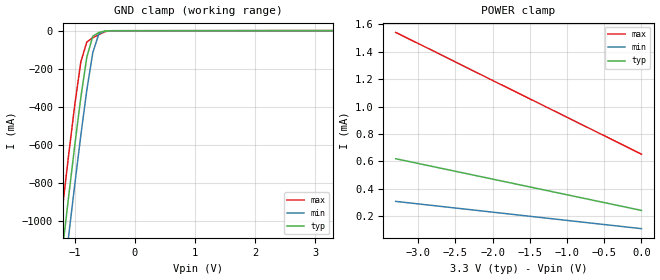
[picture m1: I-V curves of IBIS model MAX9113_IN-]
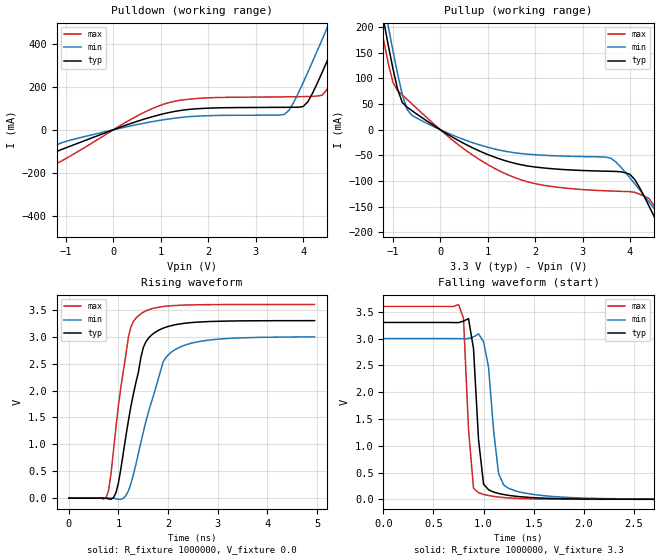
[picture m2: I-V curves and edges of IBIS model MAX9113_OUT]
|IBIS Model of MAX9113
|Created by Maxim Integrated Product
|8 lead TSSOP and SOIC package
[IBIS ver]   2.1
[File name]   max9113.ibs
[File Rev]   1.3
[Date]   Mar. 06, 2002
[Source]   From Maxim Spice models.
[Notes]   IBIS doesn't support differetial buffers directly,
   the I-V and timing curves are simulated by the
   approximated methods recommanded by members of
   IBIS committee.
[Disclaimer]   This file is for modeling purposes only.
[Copyright]   Copyright 2002 Maxim Integrated Products.
|   Component MAX9113
[Component]   MAX9113
[Manufacturer]   Maxim Integrated Products
[Package]
|variable   typ   min   max
R_pkg   50m   25m   75m
L_pkg   1.30nH   1.25nH   1.50nH
C_pkg   0.17pF   0.15pF   0.24pF
[Pin]  signal_name   model_name   r_pin   l_pin   c_pin
1   IN1-   MAX9113_IN-   35m   1.30nH   0.16pf
2   IN1+   MAX9113_IN+   35m   1.41nH   0.15pf
3   IN2+   MAX9113_IN+   35m   1.25nH   0.16pf
4   IN2-   MAX9113_IN-   35m   1.30nH   0.16pf
5   GND   GND   36m   1.50nH   0.24pf
6   OUT2   MAX9113_OUT   35m   1.27nH   0.15pf
7   OUT1   MAX9113_OUT   35m   1.25nH   0.15pf
8   VCC   POWER   39m   1.31nH   0.16pf
[Diff_pin] inv_pin  vdiff  tdelay_typ
2   1   100mV   NA |Receiver Vth=+/-100mv
3   4   100mV   NA
| Models and submodels in the file (3): MAX9113_IN- (Input), MAX9113_IN+ (Input), MAX9113_OUT (Output)
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|   Model MAX9113_IN-
[Model]   MAX9113_IN-
Model_type   Input
|Signals   IN1-, IN2-
Vinl = 0.05V
Vinh = 2.40V
|   typ   min   max
C_comp   3pF   2.4pF   3.6pF
|C_comp include package, ESD and input circuit capacitance
[Temperature Range]   25.00   85.00   -40
[Voltage Range]   3.30V   3.00V   3.60V
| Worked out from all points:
|   GND clamp passes 1 mA (typ) near -0.44 V on its own axis
[POWER Clamp]
|Volts   I(typ)   I(min)   I(max)
-3.3V     619.9uA    308.8uA    1.541mA
-3V       585.7uA    290.7uA    1.461mA
-1.9V     460uA      224.5uA    1.164mA
0V        242.9uA    110uA      653.1uA
[GND Clamp]
|Volts   I(typ)   I(min)   I(max)
-3.3V     -7.13A     -7.306A    -6.963A
-1.3V     -1.412A    -1.618A    -1.195A
-1.2V     -1.137A    -1.344A    -918.5mA
-1.1V     -865.7mA   -1.073A    -647.6mA
-1V       -602.1mA   -807.9mA   -389mA
-900mV    -352.6mA   -551.5mA   -165.2mA
-800mV    -139.1mA   -312.5mA   -59.25mA
-700mV    -28.8mA    -114.8mA   -37.35mA
-600mV    -9.97mA    -16.97mA   -20.6mA
-500mV    -2.147mA   -1.603mA   -5.135mA
-400mV    -337.7uA   -212uA     -705.2uA
3.3V      242.9uA    128.1uA    572.3uA
|   Model MAX9113_OUT
[Model]   MAX9113_OUT
Model_type   Output
Polarity   Non-Inverting
|Signal   OUT1, OUT2
|   typ   min   max
C_comp   4pF   3.2pF   4.8pF
[Temperature Range]   25.00   85.00   -40
[Voltage Range]   3.30V   3.00V   3.60V
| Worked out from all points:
|   slope of the pulldown table from 0 to 0.495 V, typ, clamps not added: 12.8 ohm
|   slope of the pullup table from 0 to 0.495 V, typ, clamps not added: 18.6 ohm
|   rising waveform, R_fixture 1000000, V_fixture 0.0: 20-80 % time 390ps typ, 514ps min, 302ps max; typ from 0 V to 3.3 V
|   falling waveform, R_fixture 1000000, V_fixture 3.3: 20-80 % time 72.4ps typ, 90ps min, 64.6ps max; typ from 3.3 V to 0 V
[PULLDOWN]
|Volts   I(typ)   I(min)   I(max)
-3.3V     -499.5mA   -316.3mA   -817.2mA
-2.3V     -301.7mA   -195.6mA   -480.4mA
-1.3V     -114.7mA   -79.8mA    -170.2mA
800mV     59.35mA    36.91mA    96.58mA
1.7V      96.65mA    62.46mA    144.3mA
3.6V      104.3mA    71.01mA    153mA
4V        107.9mA    219mA      154.3mA
4.2V      170.9mA    318.1mA    155.5mA
4.5V      317.1mA    471.6mA    186.4mA
4.8V      472.9mA    628.1mA    332.8mA
5.1V      632.7mA    786.7mA    495.2mA
6.6V      1.474A     1.606A     1.38A
[PULLUP]
|Volts   I(typ)   I(min)   I(max)
-3.3V     1.316A     1.348A     1.282A
-1.3V     264.6mA    302mA      225.6mA
-1.1V     165.8mA    202.4mA    130mA
-900mV    78.61mA    108.7mA    76.15mA
-600mV    37.26mA    28.24mA    50.45mA
1.4V      -61.16mA   -42.41mA   -86.73mA
3.6V      -80.99mA   -55.84mA   -119.4mA
4V        -87.06mA   -93.93mA   -120.7mA
4.4V      -148.6mA   -140.7mA   -134mA
4.7V      -206.1mA   -176.6mA   -203.4mA
4.9V      -245.2mA   -200.8mA   -267.5mA
6.6V      -584.9mA   -409.2mA   -841.4mA
[Ramp]
|Variable   typ   min   max
dV/dt_r  1.99/0.08n  1.48/0.10n  0.97/0.04n
dV/dt_f  1.92/0.06n  1.74/0.08n  1.64/0.04n
R_load=1000000
[Rising Waveform]
R_fixture = 1000000 |output open
C_fixture = 0.0
V_fixture = 0.0
|Time   V(typ)   V(min)   V(max)
0s        1.567uV    2.098uV    1.181uV
750ps     -1.725mV   947.8uV    3.274mV
850ps     -21.35mV   1.574mV    458.7mV
950ps     103.4mV    -11.23mV   1.325V
1.2ns     1.441V     135.5mV    2.993V
1.45ns    2.609V     1.03V      3.427V
1.6ns     2.97V      1.588V     3.499V
1.9ns     3.16V      2.534V     3.562V
2.15ns    3.225V     2.768V     3.582V
4.95ns    3.3V       2.998V     3.6V
[Falling Waveform]
R_fixture = 1000000 | output open
C_fixture = 0.0
V_fixture = 3.3
V_fixture_min = 3.0
V_fixture_max = 3.6
|Time   V(typ)   V(min)   V(max)
0s        3.3V       3V         3.6V
750ps     3.297V     2.998V     3.635V
800ps     3.325V     2.996V     3.378V
850ps     3.37V      3.001V     1.307V
900ps     2.81V      3.03V      204.7mV
950ps     1.114V     3.087V     124.9mV
1.05ns    178.9mV    2.467V     71.38mV
1.15ns    109.7mV    484mV      42.47mV
1.25ns    74.23mV    204.8mV    25.93mV
4.95ns    9.036uV    120.2uV    2.175uV
